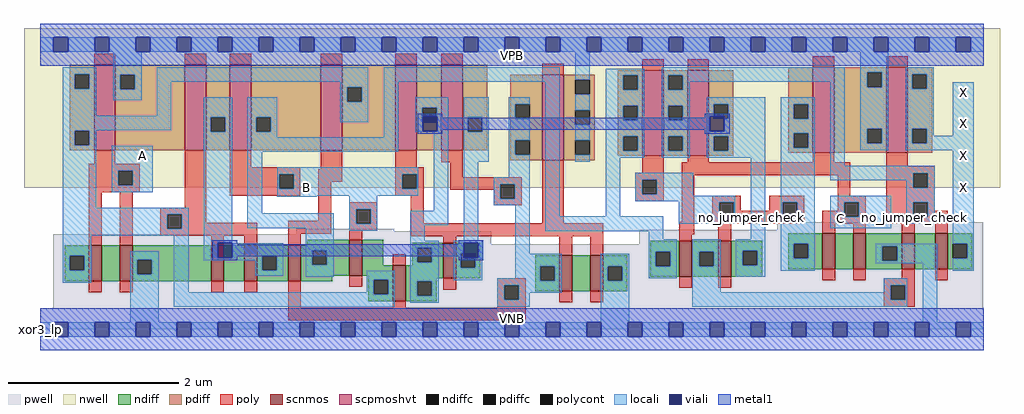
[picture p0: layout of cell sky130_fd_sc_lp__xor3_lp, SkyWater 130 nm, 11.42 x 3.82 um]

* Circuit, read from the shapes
.subckt sky130_fd_sc_lp__xor3_lp A B C VGND VNB VPB VPWR X
XM1 n1 A n2 VNB sky130_fd_pr__nfet_01v8 w=0.42 l=0.15
XM2 VGND A n1 VNB sky130_fd_pr__nfet_01v8 w=0.42 l=0.15
XM3 n3 n2 VGND VNB sky130_fd_pr__nfet_01v8 w=0.42 l=0.15
XM4 n4 n2 n3 VNB sky130_fd_pr__nfet_01v8 w=0.42 l=0.15
XM5 n5 n6 n4 VNB sky130_fd_pr__nfet_01v8 w=0.42 l=0.15
XM6 n2 B n5 VNB sky130_fd_pr__nfet_01v8 w=0.42 l=0.15
XM7 n7 n6 n2 VNB sky130_fd_pr__nfet_01v8 w=0.42 l=0.15
XM8 n4 B n7 VNB sky130_fd_pr__nfet_01v8 w=0.42 l=0.15
XM9 n8 B n6 VNB sky130_fd_pr__nfet_01v8 w=0.42 l=0.15
XM10 VGND B n8 VNB sky130_fd_pr__nfet_01v8 w=0.42 l=0.15
XM11 n9 C n5 VNB sky130_fd_pr__nfet_01v8 w=0.42 l=0.15
XM12 n7 n10 n9 VNB sky130_fd_pr__nfet_01v8 w=0.42 l=0.15
XM13 n11 C n10 VNB sky130_fd_pr__nfet_01v8 w=0.42 l=0.15
XM14 VGND C n11 VNB sky130_fd_pr__nfet_01v8 w=0.42 l=0.15
XM15 n12 n9 VGND VNB sky130_fd_pr__nfet_01v8 w=0.42 l=0.15
XM16 X n9 n12 VNB sky130_fd_pr__nfet_01v8 w=0.42 l=0.15
XM17 VPWR A n2 VPB sky130_fd_pr__pfet_01v8_hvt w=1 l=0.25
XM18 n4 n2 VPWR VPB sky130_fd_pr__pfet_01v8_hvt w=1 l=0.25
XM19 n5 B n4 VPB sky130_fd_pr__pfet_01v8_hvt w=1 l=0.25
XM20 n2 n6 n5 VPB sky130_fd_pr__pfet_01v8_hvt w=1 l=0.25
XM21 n7 B n2 VPB sky130_fd_pr__pfet_01v8_hvt w=1 l=0.25
XM22 n4 n6 n7 VPB sky130_fd_pr__pfet_01v8_hvt w=1 l=0.25
XM23 VPWR B n6 VPB sky130_fd_pr__pfet_01v8_hvt w=1 l=0.25
XM24 n9 n10 n5 VPB sky130_fd_pr__pfet_01v8_hvt w=1 l=0.25
XM25 n7 C n9 VPB sky130_fd_pr__pfet_01v8_hvt w=1 l=0.25
XM26 VPWR C n10 VPB sky130_fd_pr__pfet_01v8_hvt w=1 l=0.25
XM27 X n9 VPWR VPB sky130_fd_pr__pfet_01v8_hvt w=1 l=0.25
.ends

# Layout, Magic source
magic
tech sky130A
magscale 1 2
<< nwell >>
rect -38 331 2246 704
<< pwell >>
rect 599 229 829 235
rect 1725 233 2207 251
rect 599 223 1056 229
rect 31 199 1056 223
rect 1402 199 2207 233
rect 31 49 2207 199
rect 0 0 2208 49
<< scnmos >>
rect 114 113 144 197
rect 186 113 216 197
rect 400 113 430 197
rect 478 113 508 197
rect 580 113 610 197
rect 723 125 753 209
rect 825 66 855 150
rect 943 119 973 203
rect 1215 89 1245 173
rect 1287 89 1317 173
rect 1495 123 1525 207
rect 1587 123 1617 207
rect 1830 141 1860 225
rect 1902 141 1932 225
rect 2016 141 2046 225
rect 2094 141 2124 225
<< scpmoshvt >>
rect 126 419 176 619
rect 338 419 388 619
rect 444 419 494 619
rect 657 419 707 619
rect 831 419 881 619
rect 939 419 989 619
rect 1175 396 1225 596
rect 1409 406 1459 606
rect 1515 406 1565 606
rect 1808 413 1858 613
rect 1980 413 2030 613
<< ndiff >>
rect 625 197 723 209
rect 57 172 114 197
rect 57 138 69 172
rect 103 138 114 172
rect 57 113 114 138
rect 144 113 186 197
rect 216 163 400 197
rect 216 129 227 163
rect 261 129 400 163
rect 216 113 400 129
rect 430 113 478 197
rect 508 172 580 197
rect 508 138 519 172
rect 553 138 580 172
rect 508 113 580 138
rect 610 185 723 197
rect 610 151 637 185
rect 671 151 723 185
rect 610 125 723 151
rect 753 150 803 209
rect 870 191 943 203
rect 870 157 882 191
rect 916 157 943 191
rect 870 150 943 157
rect 753 125 825 150
rect 610 113 683 125
rect 768 116 825 125
rect 768 82 780 116
rect 814 82 825 116
rect 768 66 825 82
rect 855 119 943 150
rect 973 178 1030 203
rect 973 144 984 178
rect 1018 144 1030 178
rect 1428 182 1495 207
rect 973 119 1030 144
rect 1158 148 1215 173
rect 855 112 928 119
rect 855 78 882 112
rect 916 78 928 112
rect 855 66 928 78
rect 1158 114 1170 148
rect 1204 114 1215 148
rect 1158 89 1215 114
rect 1245 89 1287 173
rect 1317 148 1374 173
rect 1317 114 1328 148
rect 1362 114 1374 148
rect 1428 148 1440 182
rect 1474 148 1495 182
rect 1428 123 1495 148
rect 1525 182 1587 207
rect 1525 148 1542 182
rect 1576 148 1587 182
rect 1525 123 1587 148
rect 1617 184 1690 207
rect 1617 150 1644 184
rect 1678 150 1690 184
rect 1617 123 1690 150
rect 1751 200 1830 225
rect 1751 166 1763 200
rect 1797 166 1830 200
rect 1751 141 1830 166
rect 1860 141 1902 225
rect 1932 194 2016 225
rect 1932 160 1971 194
rect 2005 160 2016 194
rect 1932 141 2016 160
rect 2046 141 2094 225
rect 2124 200 2181 225
rect 2124 166 2135 200
rect 2169 166 2181 200
rect 2124 141 2181 166
rect 1317 89 1374 114
<< pdiff >>
rect 69 597 126 619
rect 69 563 81 597
rect 115 563 126 597
rect 69 465 126 563
rect 69 431 81 465
rect 115 431 126 465
rect 69 419 126 431
rect 176 596 338 619
rect 176 562 187 596
rect 221 562 338 596
rect 176 419 338 562
rect 388 496 444 619
rect 388 462 399 496
rect 433 462 444 496
rect 388 419 444 462
rect 494 496 657 619
rect 494 462 505 496
rect 539 462 657 496
rect 494 419 657 462
rect 707 566 831 619
rect 707 532 718 566
rect 752 532 831 566
rect 707 419 831 532
rect 881 519 939 619
rect 881 485 894 519
rect 928 485 939 519
rect 881 419 939 485
rect 989 496 1046 619
rect 989 462 1000 496
rect 1034 462 1046 496
rect 989 419 1046 462
rect 1100 527 1175 596
rect 1100 493 1112 527
rect 1146 493 1175 527
rect 1100 442 1175 493
rect 1100 408 1112 442
rect 1146 408 1175 442
rect 1100 396 1175 408
rect 1225 584 1298 596
rect 1225 550 1252 584
rect 1286 550 1298 584
rect 1225 513 1298 550
rect 1225 479 1252 513
rect 1286 479 1298 513
rect 1225 442 1298 479
rect 1225 408 1252 442
rect 1286 408 1298 442
rect 1225 396 1298 408
rect 1352 594 1409 606
rect 1352 560 1364 594
rect 1398 560 1409 594
rect 1352 523 1409 560
rect 1352 489 1364 523
rect 1398 489 1409 523
rect 1352 452 1409 489
rect 1352 418 1364 452
rect 1398 418 1409 452
rect 1352 406 1409 418
rect 1459 594 1515 606
rect 1459 560 1470 594
rect 1504 560 1515 594
rect 1459 523 1515 560
rect 1459 489 1470 523
rect 1504 489 1515 523
rect 1459 452 1515 489
rect 1459 418 1470 452
rect 1504 418 1515 452
rect 1459 406 1515 418
rect 1565 527 1622 606
rect 1565 493 1576 527
rect 1610 493 1622 527
rect 1565 452 1622 493
rect 1565 418 1576 452
rect 1610 418 1622 452
rect 1565 406 1622 418
rect 1751 527 1808 613
rect 1751 493 1763 527
rect 1797 493 1808 527
rect 1751 459 1808 493
rect 1751 425 1763 459
rect 1797 425 1808 459
rect 1751 413 1808 425
rect 1858 601 1980 613
rect 1858 567 1935 601
rect 1969 567 1980 601
rect 1858 469 1980 567
rect 1858 435 1935 469
rect 1969 435 1980 469
rect 1858 413 1980 435
rect 2030 597 2087 613
rect 2030 563 2041 597
rect 2075 563 2087 597
rect 2030 469 2087 563
rect 2030 435 2041 469
rect 2075 435 2087 469
rect 2030 413 2087 435
<< ndiffc >>
rect 69 138 103 172
rect 227 129 261 163
rect 519 138 553 172
rect 637 151 671 185
rect 882 157 916 191
rect 780 82 814 116
rect 984 144 1018 178
rect 882 78 916 112
rect 1170 114 1204 148
rect 1328 114 1362 148
rect 1440 148 1474 182
rect 1542 148 1576 182
rect 1644 150 1678 184
rect 1763 166 1797 200
rect 1971 160 2005 194
rect 2135 166 2169 200
<< pdiffc >>
rect 81 563 115 597
rect 81 431 115 465
rect 187 562 221 596
rect 399 462 433 496
rect 505 462 539 496
rect 718 532 752 566
rect 894 485 928 519
rect 1000 462 1034 496
rect 1112 493 1146 527
rect 1112 408 1146 442
rect 1252 550 1286 584
rect 1252 479 1286 513
rect 1252 408 1286 442
rect 1364 560 1398 594
rect 1364 489 1398 523
rect 1364 418 1398 452
rect 1470 560 1504 594
rect 1470 489 1504 523
rect 1470 418 1504 452
rect 1576 493 1610 527
rect 1576 418 1610 452
rect 1763 493 1797 527
rect 1763 425 1797 459
rect 1935 567 1969 601
rect 1935 435 1969 469
rect 2041 563 2075 597
rect 2041 435 2075 469
<< poly >>
rect 126 619 176 645
rect 338 619 388 645
rect 444 619 494 645
rect 657 619 707 645
rect 831 619 881 645
rect 939 619 989 645
rect 1175 596 1225 622
rect 1409 606 1459 632
rect 1515 606 1565 632
rect 1808 613 1858 639
rect 1980 613 2030 639
rect 126 387 176 419
rect 114 371 233 387
rect 114 337 183 371
rect 217 337 233 371
rect 114 321 233 337
rect 114 197 144 321
rect 186 197 216 321
rect 338 285 388 419
rect 444 379 494 419
rect 444 363 609 379
rect 657 375 707 419
rect 444 329 559 363
rect 593 329 609 363
rect 444 313 609 329
rect 651 345 707 375
rect 831 379 881 419
rect 939 391 989 419
rect 831 363 897 379
rect 281 269 388 285
rect 281 235 297 269
rect 331 249 388 269
rect 651 254 681 345
rect 831 329 847 363
rect 881 329 897 363
rect 831 313 897 329
rect 959 356 989 391
rect 959 340 1127 356
rect 959 326 1077 340
rect 331 235 508 249
rect 281 219 508 235
rect 400 197 430 219
rect 478 197 508 219
rect 580 224 681 254
rect 723 281 789 297
rect 723 247 739 281
rect 773 247 789 281
rect 723 231 789 247
rect 867 248 897 313
rect 1061 306 1077 326
rect 1111 306 1127 340
rect 1061 290 1127 306
rect 1175 248 1225 396
rect 1409 366 1459 406
rect 1515 391 1565 406
rect 1808 391 1858 413
rect 1393 350 1459 366
rect 1393 316 1409 350
rect 1443 316 1459 350
rect 1393 300 1459 316
rect 1501 361 1896 391
rect 1501 252 1531 361
rect 1866 313 1896 361
rect 1980 381 2030 413
rect 1980 365 2093 381
rect 1980 331 2043 365
rect 2077 331 2093 365
rect 580 197 610 224
rect 723 209 753 231
rect 867 218 1317 248
rect 943 203 973 218
rect 825 150 855 176
rect 114 87 144 113
rect 186 87 216 113
rect 400 87 430 113
rect 478 87 508 113
rect 580 51 610 113
rect 723 99 753 125
rect 1215 173 1245 218
rect 1287 173 1317 218
rect 1495 222 1531 252
rect 1573 297 1639 313
rect 1573 263 1589 297
rect 1623 277 1639 297
rect 1706 297 1788 313
rect 1706 277 1738 297
rect 1623 263 1738 277
rect 1772 263 1788 297
rect 1866 297 1932 313
rect 1866 277 1882 297
rect 1573 247 1788 263
rect 1830 263 1882 277
rect 1916 263 1932 297
rect 1830 247 1932 263
rect 1980 297 2093 331
rect 1980 263 2043 297
rect 2077 277 2093 297
rect 2077 263 2124 277
rect 1980 247 2124 263
rect 1495 207 1525 222
rect 1587 207 1617 247
rect 1830 225 1860 247
rect 1902 225 1932 247
rect 2016 225 2046 247
rect 2094 225 2124 247
rect 943 93 973 119
rect 1070 103 1136 119
rect 1070 69 1086 103
rect 1120 69 1136 103
rect 1495 97 1525 123
rect 1587 97 1617 123
rect 1830 115 1860 141
rect 1902 115 1932 141
rect 2016 119 2046 141
rect 1974 103 2046 119
rect 2094 115 2124 141
rect 825 51 855 66
rect 1070 51 1136 69
rect 1215 63 1245 89
rect 1287 63 1317 89
rect 1974 69 1990 103
rect 2024 69 2046 103
rect 1974 53 2046 69
rect 580 21 1136 51
<< polycont >>
rect 183 337 217 371
rect 559 329 593 363
rect 297 235 331 269
rect 847 329 881 363
rect 739 247 773 281
rect 1077 306 1111 340
rect 1409 316 1443 350
rect 2043 331 2077 365
rect 1589 263 1623 297
rect 1738 263 1772 297
rect 1882 263 1916 297
rect 2043 263 2077 297
rect 1086 69 1120 103
rect 1990 69 2024 103
<< locali >>
rect 0 649 31 683
rect 65 649 127 683
rect 161 649 223 683
rect 257 649 319 683
rect 353 649 415 683
rect 449 649 511 683
rect 545 649 607 683
rect 641 649 703 683
rect 737 649 799 683
rect 833 649 895 683
rect 929 649 991 683
rect 1025 649 1087 683
rect 1121 649 1183 683
rect 1217 649 1279 683
rect 1313 649 1375 683
rect 1409 649 1471 683
rect 1505 649 1567 683
rect 1601 649 1663 683
rect 1697 649 1759 683
rect 1793 649 1855 683
rect 1889 649 1951 683
rect 1985 649 2047 683
rect 2081 649 2143 683
rect 2177 649 2208 683
rect 53 597 131 613
rect 53 563 81 597
rect 115 563 131 597
rect 53 500 131 563
rect 171 596 237 649
rect 171 562 187 596
rect 221 562 237 596
rect 171 536 237 562
rect 273 579 768 613
rect 273 500 307 579
rect 702 566 768 579
rect 53 466 307 500
rect 383 496 449 543
rect 53 465 131 466
rect 53 431 81 465
rect 115 431 131 465
rect 53 285 131 431
rect 383 462 399 496
rect 433 462 449 496
rect 167 371 263 430
rect 167 337 183 371
rect 217 337 263 371
rect 167 321 263 337
rect 53 269 347 285
rect 53 235 297 269
rect 331 235 347 269
rect 53 219 347 235
rect 53 172 119 219
rect 53 138 69 172
rect 103 138 119 172
rect 53 109 119 138
rect 211 163 277 183
rect 211 129 227 163
rect 261 129 277 163
rect 211 17 277 129
rect 313 87 347 219
rect 383 202 449 462
rect 485 496 555 543
rect 485 462 505 496
rect 539 462 555 496
rect 702 532 718 566
rect 752 532 768 566
rect 702 485 768 532
rect 804 579 1216 613
rect 485 449 555 462
rect 804 449 838 579
rect 878 519 955 543
rect 878 485 894 519
rect 928 498 955 519
rect 878 464 895 485
rect 929 464 955 498
rect 878 462 955 464
rect 485 415 838 449
rect 485 271 519 415
rect 555 363 885 379
rect 555 329 559 363
rect 593 329 847 363
rect 881 329 885 363
rect 555 313 885 329
rect 555 310 647 313
rect 723 281 789 313
rect 485 237 687 271
rect 383 168 415 202
rect 449 172 569 201
rect 449 168 519 172
rect 383 162 519 168
rect 503 138 519 162
rect 553 138 569 172
rect 503 125 569 138
rect 621 185 687 237
rect 723 247 739 281
rect 773 247 789 281
rect 921 277 955 462
rect 723 231 789 247
rect 866 243 955 277
rect 991 496 1050 543
rect 991 462 1000 496
rect 1034 462 1050 496
rect 991 392 1050 462
rect 1096 527 1146 543
rect 1096 493 1112 527
rect 1096 442 1146 493
rect 1096 408 1112 442
rect 621 151 637 185
rect 671 151 687 185
rect 621 123 687 151
rect 866 207 900 243
rect 991 208 1025 392
rect 1096 356 1146 408
rect 1061 340 1146 356
rect 1061 306 1077 340
rect 1111 306 1146 340
rect 1061 290 1146 306
rect 991 207 1034 208
rect 866 191 932 207
rect 866 157 882 191
rect 916 157 932 191
rect 764 116 830 137
rect 764 87 780 116
rect 313 82 780 87
rect 814 82 830 116
rect 313 53 830 82
rect 866 112 932 157
rect 968 202 1034 207
rect 968 178 991 202
rect 968 144 984 178
rect 1025 168 1034 202
rect 1018 144 1034 168
rect 968 115 1034 144
rect 1112 177 1146 290
rect 1182 264 1216 579
rect 1252 584 1286 649
rect 1252 513 1286 550
rect 1252 442 1286 479
rect 1252 392 1286 408
rect 1323 594 1414 610
rect 1323 560 1364 594
rect 1398 560 1414 594
rect 1323 523 1414 560
rect 1323 489 1364 523
rect 1398 489 1414 523
rect 1323 452 1414 489
rect 1323 418 1364 452
rect 1398 418 1414 452
rect 1323 402 1414 418
rect 1454 594 1883 613
rect 1454 560 1470 594
rect 1504 579 1883 594
rect 1504 560 1520 579
rect 1454 523 1520 560
rect 1454 489 1470 523
rect 1504 489 1520 523
rect 1454 452 1520 489
rect 1454 418 1470 452
rect 1504 418 1520 452
rect 1454 402 1520 418
rect 1560 527 1697 543
rect 1560 498 1576 527
rect 1560 464 1567 498
rect 1610 493 1697 527
rect 1601 464 1697 493
rect 1560 452 1697 464
rect 1560 418 1576 452
rect 1610 418 1697 452
rect 1560 402 1697 418
rect 1323 264 1357 402
rect 1393 350 1528 366
rect 1393 316 1409 350
rect 1443 316 1528 350
rect 1393 313 1528 316
rect 1393 300 1627 313
rect 1494 297 1627 300
rect 1182 230 1458 264
rect 1494 263 1589 297
rect 1623 263 1627 297
rect 1494 247 1627 263
rect 1424 211 1458 230
rect 1663 211 1697 402
rect 1424 182 1490 211
rect 1112 148 1220 177
rect 1112 119 1170 148
rect 866 78 882 112
rect 916 78 932 112
rect 866 62 932 78
rect 1070 114 1170 119
rect 1204 114 1220 148
rect 1070 103 1220 114
rect 1070 69 1086 103
rect 1120 85 1220 103
rect 1312 148 1378 177
rect 1312 114 1328 148
rect 1362 114 1378 148
rect 1424 148 1440 182
rect 1474 148 1490 182
rect 1424 119 1490 148
rect 1526 182 1592 211
rect 1526 148 1542 182
rect 1576 148 1592 182
rect 1120 69 1146 85
rect 1070 53 1146 69
rect 1312 17 1378 114
rect 1526 87 1592 148
rect 1628 184 1697 211
rect 1628 150 1644 184
rect 1678 150 1697 184
rect 1628 123 1697 150
rect 1733 527 1813 543
rect 1733 493 1763 527
rect 1797 493 1813 527
rect 1733 459 1813 493
rect 1733 425 1763 459
rect 1797 425 1813 459
rect 1733 297 1813 425
rect 1849 383 1883 579
rect 1919 601 1985 649
rect 1919 567 1935 601
rect 1969 567 1985 601
rect 1919 469 1985 567
rect 1919 435 1935 469
rect 1969 435 1985 469
rect 1919 419 1985 435
rect 2025 597 2091 613
rect 2025 563 2041 597
rect 2075 563 2091 597
rect 2025 469 2091 563
rect 2025 435 2041 469
rect 2075 453 2091 469
rect 2135 453 2185 578
rect 2075 435 2185 453
rect 2025 419 2185 435
rect 1849 365 2093 383
rect 1849 349 2043 365
rect 2027 331 2043 349
rect 2077 331 2093 365
rect 1733 263 1738 297
rect 1772 263 1813 297
rect 1733 200 1813 263
rect 1849 297 1991 313
rect 1849 263 1882 297
rect 1916 263 1991 297
rect 1849 236 1991 263
rect 2027 297 2093 331
rect 2027 263 2043 297
rect 2077 263 2093 297
rect 2027 247 2093 263
rect 2135 200 2185 419
rect 1733 166 1763 200
rect 1797 166 1813 200
rect 1733 137 1813 166
rect 1955 194 2099 200
rect 1955 160 1971 194
rect 2005 160 2099 194
rect 1955 155 2099 160
rect 1974 103 2029 119
rect 1974 87 1990 103
rect 1526 69 1990 87
rect 2024 69 2029 103
rect 1526 53 2029 69
rect 2065 17 2099 155
rect 2169 166 2185 200
rect 2135 137 2185 166
rect 0 -17 31 17
rect 65 -17 127 17
rect 161 -17 223 17
rect 257 -17 319 17
rect 353 -17 415 17
rect 449 -17 511 17
rect 545 -17 607 17
rect 641 -17 703 17
rect 737 -17 799 17
rect 833 -17 895 17
rect 929 -17 991 17
rect 1025 -17 1087 17
rect 1121 -17 1183 17
rect 1217 -17 1279 17
rect 1313 -17 1375 17
rect 1409 -17 1471 17
rect 1505 -17 1567 17
rect 1601 -17 1663 17
rect 1697 -17 1759 17
rect 1793 -17 1855 17
rect 1889 -17 1951 17
rect 1985 -17 2047 17
rect 2081 -17 2143 17
rect 2177 -17 2208 17
<< viali >>
rect 31 649 65 683
rect 127 649 161 683
rect 223 649 257 683
rect 319 649 353 683
rect 415 649 449 683
rect 511 649 545 683
rect 607 649 641 683
rect 703 649 737 683
rect 799 649 833 683
rect 895 649 929 683
rect 991 649 1025 683
rect 1087 649 1121 683
rect 1183 649 1217 683
rect 1279 649 1313 683
rect 1375 649 1409 683
rect 1471 649 1505 683
rect 1567 649 1601 683
rect 1663 649 1697 683
rect 1759 649 1793 683
rect 1855 649 1889 683
rect 1951 649 1985 683
rect 2047 649 2081 683
rect 2143 649 2177 683
rect 895 485 928 498
rect 928 485 929 498
rect 895 464 929 485
rect 415 168 449 202
rect 991 178 1025 202
rect 991 168 1018 178
rect 1018 168 1025 178
rect 1567 493 1576 498
rect 1576 493 1601 498
rect 1567 464 1601 493
rect 31 -17 65 17
rect 127 -17 161 17
rect 223 -17 257 17
rect 319 -17 353 17
rect 415 -17 449 17
rect 511 -17 545 17
rect 607 -17 641 17
rect 703 -17 737 17
rect 799 -17 833 17
rect 895 -17 929 17
rect 991 -17 1025 17
rect 1087 -17 1121 17
rect 1183 -17 1217 17
rect 1279 -17 1313 17
rect 1375 -17 1409 17
rect 1471 -17 1505 17
rect 1567 -17 1601 17
rect 1663 -17 1697 17
rect 1759 -17 1793 17
rect 1855 -17 1889 17
rect 1951 -17 1985 17
rect 2047 -17 2081 17
rect 2143 -17 2177 17
<< metal1 >>
rect 0 683 2208 715
rect 0 649 31 683
rect 65 649 127 683
rect 161 649 223 683
rect 257 649 319 683
rect 353 649 415 683
rect 449 649 511 683
rect 545 649 607 683
rect 641 649 703 683
rect 737 649 799 683
rect 833 649 895 683
rect 929 649 991 683
rect 1025 649 1087 683
rect 1121 649 1183 683
rect 1217 649 1279 683
rect 1313 649 1375 683
rect 1409 649 1471 683
rect 1505 649 1567 683
rect 1601 649 1663 683
rect 1697 649 1759 683
rect 1793 649 1855 683
rect 1889 649 1951 683
rect 1985 649 2047 683
rect 2081 649 2143 683
rect 2177 649 2208 683
rect 0 617 2208 649
rect 883 498 941 504
rect 883 464 895 498
rect 929 495 941 498
rect 1555 498 1613 504
rect 1555 495 1567 498
rect 929 467 1567 495
rect 929 464 941 467
rect 883 458 941 464
rect 1555 464 1567 467
rect 1601 464 1613 498
rect 1555 458 1613 464
rect 403 202 461 208
rect 403 168 415 202
rect 449 199 461 202
rect 979 202 1037 208
rect 979 199 991 202
rect 449 171 991 199
rect 449 168 461 171
rect 403 162 461 168
rect 979 168 991 171
rect 1025 168 1037 202
rect 979 162 1037 168
rect 0 17 2208 49
rect 0 -17 31 17
rect 65 -17 127 17
rect 161 -17 223 17
rect 257 -17 319 17
rect 353 -17 415 17
rect 449 -17 511 17
rect 545 -17 607 17
rect 641 -17 703 17
rect 737 -17 799 17
rect 833 -17 895 17
rect 929 -17 991 17
rect 1025 -17 1087 17
rect 1121 -17 1183 17
rect 1217 -17 1279 17
rect 1313 -17 1375 17
rect 1409 -17 1471 17
rect 1505 -17 1567 17
rect 1601 -17 1663 17
rect 1697 -17 1759 17
rect 1793 -17 1855 17
rect 1889 -17 1951 17
rect 1985 -17 2047 17
rect 2081 -17 2143 17
rect 2177 -17 2208 17
rect 0 -49 2208 -17
<< labels >>
flabel pwell s 0 0 2208 49 0 FreeSans 200 0 0 0 VNB
port 5 nsew ground bidirectional
flabel nwell s 0 617 2208 666 0 FreeSans 200 0 0 0 VPB
port 6 nsew power bidirectional
rlabel comment s 0 0 0 0 4 xor3_lp
flabel comment s 2046 261 2046 261 0 FreeSans 200 180 0 0 no_jumper_check
flabel comment s 1664 261 1664 261 0 FreeSans 200 180 0 0 no_jumper_check
flabel metal1 s 0 617 2208 666 0 FreeSans 340 0 0 0 VPWR
port 7 nsew power bidirectional
flabel metal1 s 0 0 2208 49 0 FreeSans 340 0 0 0 VGND
port 4 nsew ground bidirectional
flabel locali s 607 316 641 350 0 FreeSans 340 0 0 0 B
port 2 nsew signal input
flabel locali s 223 390 257 424 0 FreeSans 340 0 0 0 A
port 1 nsew signal input
flabel locali s 1855 242 1889 276 0 FreeSans 340 0 0 0 C
port 3 nsew signal input
flabel locali s 1951 242 1985 276 0 FreeSans 340 0 0 0 C
port 3 nsew signal input
flabel locali s 2143 242 2177 276 0 FreeSans 340 0 0 0 X
port 8 nsew signal output
flabel locali s 2143 316 2177 350 0 FreeSans 340 0 0 0 X
port 8 nsew signal output
flabel locali s 2143 390 2177 424 0 FreeSans 340 0 0 0 X
port 8 nsew signal output
flabel locali s 2143 464 2177 498 0 FreeSans 340 0 0 0 X
port 8 nsew signal output
flabel locali s 2143 538 2177 572 0 FreeSans 340 0 0 0 X
port 8 nsew signal output
<< properties >>
string LEFsite unit
string LEFclass CORE
string FIXED_BBOX 0 0 2208 666
string GDS_FILE $PDKPATH/libs.ref/sky130_fd_sc_lp/gds/sky130_fd_sc_lp.gds
string LEFsymmetry X Y R90
string GDS_END 4647838
string GDS_START 4633234
<< end >>
